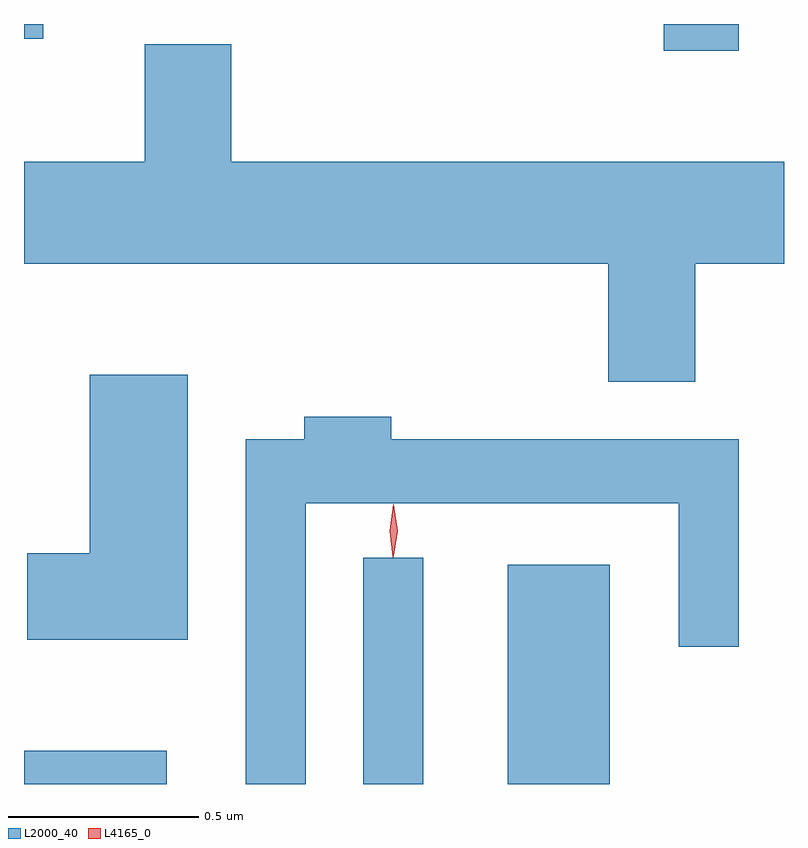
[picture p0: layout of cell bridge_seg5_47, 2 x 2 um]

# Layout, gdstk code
import gdstk
lib = gdstk.Library(unit=1e-6, precision=1e-09)
def R(c, l, rs):  # rectangles x0, y0, x1, y1
    for r in rs: c.add(gdstk.rectangle(r[:2], r[2:], *l))
def P(c, l, *ps):  # polygons
    for p in ps: c.add(gdstk.Polygon(p, *l))
L2000_40 = (2000, 40)
L4165_0 = (4165, 0)

bridge_seg5_47 = lib.new_cell('bridge_seg5_47')
R(bridge_seg5_47, L2000_40, [(1338.043,1466.527,1338.419,1466.614), (1338.936,1466.527,1339.094,1467.123), (1339.316,1466.527,1339.584,1467.104), (1339.726,1468.456,1339.924,1468.527), (1338.043,1468.488,1338.094,1468.527)])
P(bridge_seg5_47, L2000_40, [(1339.809,1467.896),(1340.043,1467.896),(1340.043,1468.164),(1338.589,1468.164),(1338.589,1468.474),(1338.361,1468.474),(1338.361,1468.164),(1338.043,1468.164),(1338.043,1467.896),(1339.581,1467.896),(1339.581,1467.586),(1339.809,1467.586)],
  [(1338.474,1467.604),(1338.216,1467.604),(1338.216,1467.134),(1338.051,1467.134),(1338.051,1466.906),(1338.474,1466.906)],
  [(1338.784,1467.266),(1339.766,1467.266),(1339.766,1466.888),(1339.924,1466.888),(1339.924,1467.434),(1339.009,1467.434),(1339.009,1467.494),(1338.781,1467.494),(1338.781,1467.434),(1338.626,1467.434),(1338.626,1466.527),(1338.784,1466.527)])
P(bridge_seg5_47, L4165_0, [(1339.014,1467.124),(1339.005,1467.193),(1339.015,1467.262),(1339.016,1467.263),(1339.016,1467.262),(1339.025,1467.193),(1339.015,1467.124),(1339.015,1467.124)],
  [(1339.016,1467.127),(1339.015,1467.128),(1339.006,1467.194),(1339.015,1467.26),(1339.016,1467.261),(1339.016,1467.26),(1339.026,1467.194),(1339.016,1467.128)])

lib.write_gds('bridge_seg5_47.gds')
